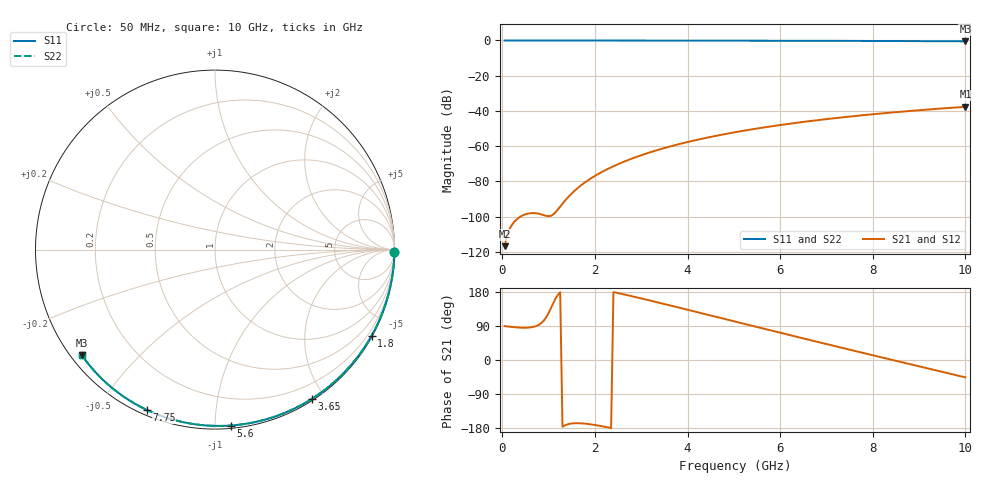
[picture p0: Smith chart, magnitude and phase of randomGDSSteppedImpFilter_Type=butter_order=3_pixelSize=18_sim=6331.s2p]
! freq	dB(S11)	phase(S11)	dB(S12)	phase(S12)
!  dB(S21)	phase(S21)	dB(S22)	phase(S22)
!S-par simulation data
#  GHz  S  DB  R 50
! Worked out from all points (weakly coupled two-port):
!   200 points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, 50 MHz to 10 GHz, reference 50 ohm
!   highest |S21| = -37.65 dB at 10 GHz (marker M1); lowest = -116.7 dB at 50 MHz (marker M2)
!   lowest |S11| = -0.5 dB at 10 GHz (marker M3), VSWR 36.78, Z = 1.53 - j17.5 ohm
!   |S11| at or under -10 dB: nowhere
!   |S22| runs from -0.5 to 0.0 dB; largest |S21 - S12| = 0
!   S11 on the Smith chart (normalised r, x): 50 MHz: open; 1.8 GHz: 0.03, -3.88; 3.65 GHz: 0.02, -1.84; 5.6 GHz: 0.02, -1.09; 7.75 GHz: 0.02, -0.66; 10 GHz: 0.03, -0.35
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0.05  -0.00 -0.8  -116.74 89.4  -116.74 89.4  -0.00 -0.8
0.45  -0.01 -7.3  -99.17 85.1  -99.17 85.1  -0.01 -7.3
0.9  -0.02 -14.6  -99.17 104.6  -99.17 104.6  -0.02 -14.6
1.75  -0.04 -28.1  -81.23 -167.5  -81.23 -167.5  -0.04 -28.1
1.8  -0.04 -28.9  -80.28 -168.1  -80.28 -168.1  -0.04 -28.9
1.85  -0.04 -29.7  -79.37 -168.8  -79.37 -168.8  -0.04 -29.7
2  -0.04 -32.0  -76.87 -171.4  -76.87 -171.4  -0.04 -32.0
2.15  -0.04 -34.4  -74.64 -174.7  -74.64 -174.7  -0.04 -34.4
2.35  -0.05 -37.5  -71.99 -179.6  -71.99 -179.6  -0.05 -37.5
2.55  -0.05 -40.5  -69.63 175.2  -69.63 175.2  -0.05 -40.5
2.95  -0.06 -46.7  -65.59 163.9  -65.59 163.9  -0.06 -46.7
3.4  -0.07 -53.4  -61.81 150.7  -61.81 150.7  -0.07 -53.4
3.65  -0.08 -57.1  -59.97 143.2  -59.97 143.2  -0.08 -57.1
4.3  -0.09 -66.6  -55.84 123.6  -55.84 123.6  -0.09 -66.6
5.05  -0.12 -77.2  -51.96 100.8  -51.96 100.8  -0.12 -77.2
5.6  -0.14 -84.8  -49.56 84.1  -49.56 84.1  -0.14 -84.8
6.15  -0.16 -92.3  -47.44 67.5  -47.44 67.5  -0.16 -92.3
6.7  -0.19 -99.5  -45.57 51.0  -45.57 51.0  -0.19 -99.5
7.75  -0.26 -113.1  -42.52 19.8  -42.52 19.8  -0.26 -113.1
8.35  -0.31 -120.7  -41.03 2.2  -41.03 2.2  -0.31 -120.7
9.2  -0.39 -131.4  -39.17 -22.5  -39.17 -22.5  -0.39 -131.4
10  -0.47 -141.5  -37.65 -45.8  -37.65 -45.8  -0.47 -141.5
